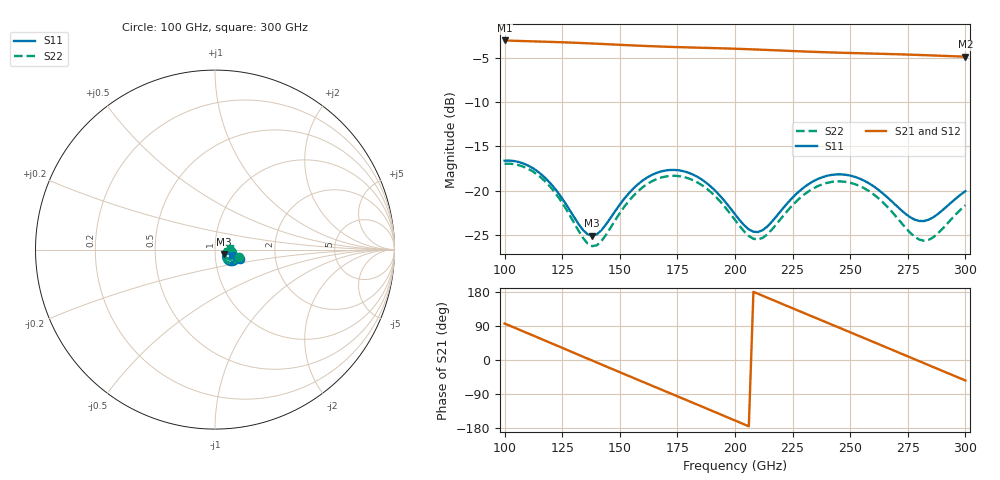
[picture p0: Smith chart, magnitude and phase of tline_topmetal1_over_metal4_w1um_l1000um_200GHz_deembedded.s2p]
! Created with skrf 2.0.1 (http://scikit-rf.org).
# GHz S DB R 50.0
!freq dBS11 angS11 dBS21 angS21 dBS12 angS12 dBS22 angS22
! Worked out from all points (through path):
!   101 points, 100 GHz to 300 GHz, reference 50 ohm
!   highest |S21| = -3.07 dB at 100 GHz (marker M1); lowest = -4.9 dB at 300 GHz (marker M2)
!   group delay of S21, straight-line fit = 7.08 ps
!   lowest |S11| = -25.0 dB at 138 GHz (marker M3), VSWR 1.12, Z = 55.2 - j2.68 ohm
!   |S11| at or under -10 dB: start of sweep to end of sweep
!   |S22| runs from -26.2 to -16.9 dB; largest |S21 - S12| = 7e-14
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100  -16.59 -21.0  -3.07 96.3  -3.07 96.3  -16.95 -17.1
108  -16.89 -33.5  -3.14 75.8  -3.14 75.8  -17.26 -29.5
116  -18.15 -44.5  -3.20 55.3  -3.20 55.3  -18.54 -40.6
126  -21.24 -51.0  -3.29 29.5  -3.29 29.5  -21.74 -47.7
134  -24.38 -39.5  -3.37 8.9  -3.37 8.9  -25.27 -36.5
138  -25.05 -25.6  -3.41 -1.4  -3.41 -1.4  -26.21 -21.2
152  -20.86 -1.2  -3.59 -37.3  -3.59 -37.3  -21.76 8.1
160  -18.81 -7.2  -3.68 -57.7  -3.68 -57.7  -19.57 2.5
168  -17.80 -17.4  -3.76 -78.0  -3.76 -78.0  -18.49 -7.6
182  -18.18 -37.0  -3.87 -113.6  -3.87 -113.6  -18.81 -26.8
192  -20.13 -46.9  -3.94 -139.1  -3.94 -139.1  -20.74 -36.7
200  -22.62 -46.2  -4.00 -159.6  -4.00 -159.6  -23.26 -36.2
206  -24.32 -35.6  -4.06 -175.0  -4.06 -175.0  -25.07 -25.6
212  -24.41 -18.7  -4.12 169.6  -4.12 169.6  -25.28 -8.2
222  -21.60 -5.4  -4.23 144.1  -4.23 144.1  -22.47 6.5
234  -18.91 -12.8  -4.35 113.7  -4.35 113.7  -19.71 -0.4
242  -18.19 -22.3  -4.42 93.4  -4.42 93.4  -18.98 -9.9
250  -18.27 -32.4  -4.48 73.2  -4.48 73.2  -19.08 -20.2
268  -21.16 -45.5  -4.61 27.4  -4.61 27.4  -22.31 -35.1
282  -23.38 -28.0  -4.72 -8.3  -4.72 -8.3  -25.60 -14.3
290  -22.18 -16.4  -4.80 -28.6  -4.80 -28.6  -24.28 2.8
300  -20.02 -16.0  -4.90 -54.0  -4.90 -54.0  -21.61 5.7
